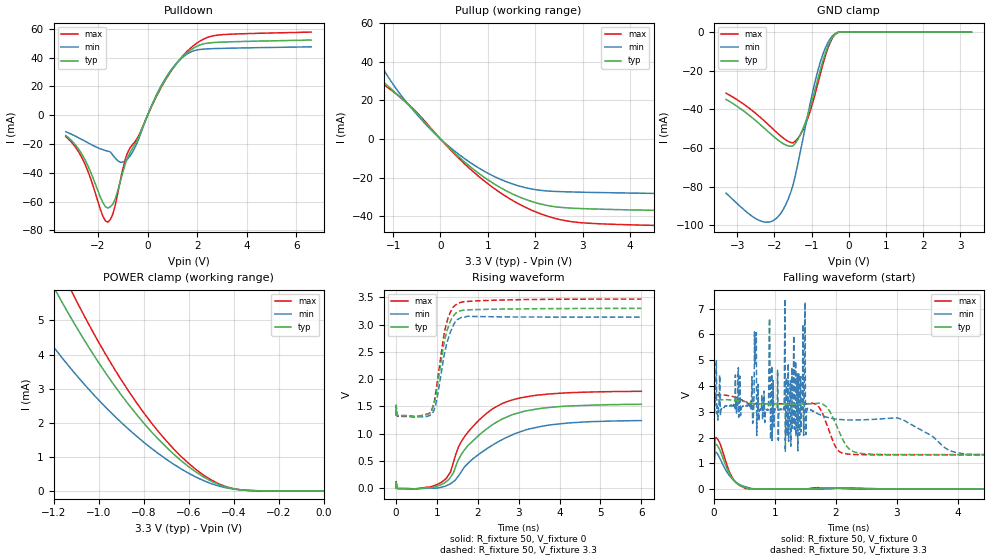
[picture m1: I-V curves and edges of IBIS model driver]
| IBIS file io_buf.ibs created by PYS2IBIS3
| Missouri S&T EMC Lab
[IBIS Ver] 5.1
[File Name] io_buf.ibs
[File Rev] 0.1
[Date] December 6, 2025
[Source] Netlist generated by Grok
[Notes] testing the exe by Simon
[Disclaimer] This buffer is not a real buffer. It is a imaginay buffer. What
 is a imaginay buffer? An imagnary buffer is a buffer that is...
[Copyright] Missouri S&T EMC Lab
[Component] MCM Driver 1
[Manufacturer] MegaFLOPS Inc.
[Package]
| variable   typ   min   max
R_pkg 0 NA NA
L_pkg 0H NA NA
C_pkg 0F NA NA
[Pin]  signal_name   model_name   R_pin   L_pin   C_pin
vss   vss   GND
vdd   vdd   POWER
| oe oe dummy
| in in dummy
out   out   driver
| End of Component
| Models and submodels in the file (1): driver (I/O)
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[Model] driver
Model_type I/O
Polarity Non-Inverting
Enable Active-High
Vinl  = 0.8V
Vinh  = 2V
C_comp 1.2000pF 1.0000pF 1.4000pF
[Temperature Range] 27.0000 100.0000 0.0000
[Voltage Range] 3.3000V 3.0000V 3.6000V
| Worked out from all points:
|   slope of the pulldown table from 0 to 0.495 V, typ, clamps not added: 27.4 ohm
|   slope of the pullup table from 0 to 0.495 V, typ, clamps not added: 42.7 ohm
|   GND clamp passes 1 mA (typ) near -0.36 V on its own axis
|   POWER clamp passes 1 mA (typ) near -0.65 V on its own axis
|   rising waveform, R_fixture 50, V_fixture 0: 20-80 % time 1.09ns typ, 1.33ns min, 944ps max; typ from 0 V to 1.54 V
|   rising waveform, R_fixture 50, V_fixture 3.3: 20-80 % time 275ps typ, 276ps min, 269ps max; typ from 1.34 V to 3.3 V
|   falling waveform, R_fixture 50, V_fixture 0: 20-80 % time 195ps typ, 232ps min, 178ps max; typ from 1.54 V to 0 V
|   falling waveform, R_fixture 50, V_fixture 3.3: 20-80 % time 235ps typ, 1.1ps min, 213ps max; typ from 3.3 V to 1.34 V
[Pulldown]
| Voltage   I(typ)   I(min)   I(max)
-3.3V     -14.11mA   -11.49mA   -14.92mA
-2.6V     -28.62mA   -17.33mA   -31.26mA
-1.8V     -60.89mA   -24.01mA   -70.36mA
-1.6V     -64.58mA   -24.99mA   -74.37mA
-1.3V     -57.87mA   -29.98mA   -62.22mA
-1V       -39.62mA   -32.58mA   -37.38mA
-800mV    -29.26mA   -30.26mA   -25.73mA
-400mV    -16.61mA   -18.23mA   -15.56mA
600mV     21.34mA    22.16mA    20.91mA
1.7V      44.86mA    43.6mA     46.12mA
2.8V      50.65mA    46.37mA    55.62mA
6.6V      52.2mA     47.56mA    57.78mA
[Pullup]
| Voltage   I(typ)   I(min)   I(max)
-3.3V     52.9mA     288mA      32.03mA
-2.9V     57.26mA    200.3mA    40.86mA
-2.5V     55.97mA    137.1mA    43.93mA
-2.2V     50.87mA    101.5mA    42.91mA
-1.7V     40.21mA    61.42mA    36.21mA
-1V       25.06mA    28.32mA    24.59mA
-200mV    5.278mA    4.74mA     5.561mA
600mV     -13.78mA   -11.72mA   -14.92mA
1.5V      -28.2mA    -23.1mA    -31.5mA
2.2V      -34.15mA   -26.79mA   -39.49mA
2.9V      -35.95mA   -27.49mA   -43.18mA
6.6V      -37.71mA   -28.71mA   -45.68mA
[GND Clamp]
| Voltage   I(typ)   I(min)   I(max)
-3.3V     -34.82mA   -83.32mA   -31.62mA
-2.367V   -48.08mA   -97.77mA   -44.32mA
-2.1V     -52.69mA   -98.1mA    -49.02mA
-1.833V   -56.87mA   -93.93mA   -53.7mA
-1.633V   -58.86mA   -86.63mA   -56.5mA
-1.5V     -58.92mA   -79.34mA   -57.37mA
-1.233V   -50.13mA   -55.35mA   -50.74mA
-1.033V   -38.66mA   -36.46mA   -40.67mA
-766.7mV  -19.68mA   -15.62mA   -21.83mA
-566.7mV  -7.562mA   -5.625mA   -8.589mA
-366.7mV  -1.04mA    -747.4uA   -1.186mA
3.3V      806.1pA    7.276uA    187.3pA
[POWER Clamp]
| Voltage   I(typ)   I(min)   I(max)
-3.3V     69.1mA     63.7mA     73.07mA
-1.367V   8.162mA    5.773mA    9.455mA
-1.2V     5.986mA    4.223mA    6.947mA
-1.167V   5.586mA    3.941mA    6.483mA
-1.133V   5.198mA    3.669mA    6.033mA
-1.1V     4.823mA    3.406mA    5.596mA
-966.7mV  3.44mA     2.442mA    3.986mA
-833.3mV  2.26mA     1.618mA    2.607mA
-700mV    1.29mA     934.1uA    1.477mA
-566.7mV  553.4uA    405uA      627uA
-400mV    62.27uA    53.24uA    65.79uA
0V        806.1pA    6.115nA    316.9pA
[Ramp]
| variable   typ   min   max
dV/dt_r 0.9240/1.086n 0.7446/1.326n 1.0668/0.9434n
dV/dt_f 1.1772/0.2361n 1.0914/0.3113n 1.2714/0.2049n
R_load = 50
[Rising Waveform]
R_fixture = 50
V_fixture = 0
|time   V(typ)   V(min)   V(max)
0s        7.302nV    59.67nV    2.904nV
6ps       113mV      103.1mV    122.4mV
36ps      -4.207mV   -3.02mV    -5.228mV
420.4ps   -12.39mV   -9.41mV    -16.9mV
1.225ns   119.3mV    43.31mV    175.2mV
1.52ns    510.7mV    217.5mV    739.9mV
1.718ns   744.8mV    424.6mV    990.7mV
2.577ns   1.263V     885.4mV    1.547V
3.784ns   1.484V     1.163V     1.732V
6ns       1.54V      1.241V     1.778V
[Rising Waveform]
R_fixture = 50
V_fixture = 3.3
|time   V(typ)   V(min)   V(max)
0s        1.338V     1.342V     1.329V
6ps       1.524V     1.524V     1.512V
18ps      1.377V     1.376V     1.371V
48ps      1.33V      1.335V     1.32V
858.9ps   1.407V     1.352V     1.415V
967ps     1.666V     1.512V     1.722V
1.213ns   2.787V     2.565V     2.959V
1.327ns   3.058V     2.858V     3.23V
1.484ns   3.221V     3.087V     3.384V
6ns       3.3V       3.139V     3.471V
[Falling Waveform]
R_fixture = 50
V_fixture = 0
|time   V(typ)   V(min)   V(max)
0s        1.545V     1.247V     1.783V
6ps       1.167V     894.4mV    1.381V
18ps      1.641V     1.349V     1.888V
24ps      1.721V     1.425V     1.968V
54.1ps    1.704V     1.389V     1.967V
108.1ps   1.469V     1.153V     1.733V
210.2ps   841.8mV    683.7mV    960.1mV
306.3ps   411.3mV    386.7mV    434.8mV
522.5ps   46.94mV    89.19mV    24.21mV
6ns       1.174uV    -3.593uV   -3.753uV
[Falling Waveform]
R_fixture = 50
V_fixture = 3.3
|time   V(typ)   V(min)   V(max)
0s        3.3V       3.139V     3.472V
912.9ps   3.301V     6.614V     3.3V
1.057ns   3.3V       1.896V     3.3V
1.165ns   3.3V       7.367V     3.3V
1.171ns   3.3V       1.467V     3.3V
1.46ns    3.302V     6.386V     3.307V
1.472ns   3.302V     2.081V     3.308V
1.496ns   3.303V     7.243V     3.31V
1.508ns   3.304V     2.113V     3.311V
6ns       1.338V     1.342V     1.329V
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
